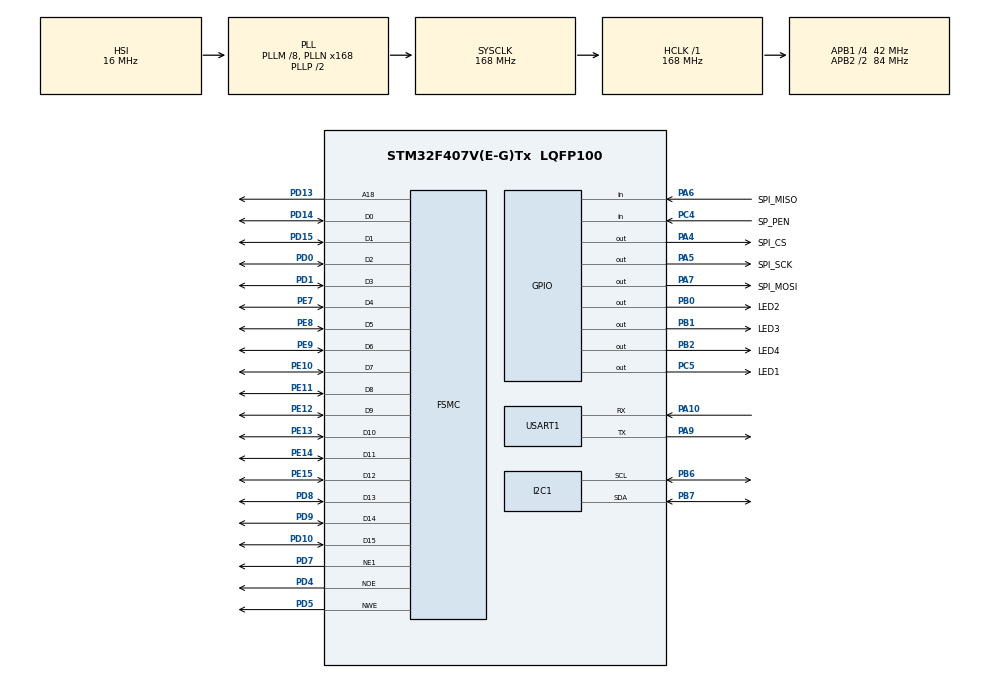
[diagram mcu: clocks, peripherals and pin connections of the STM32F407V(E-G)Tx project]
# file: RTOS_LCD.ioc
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Dma.I2C1_RX.0.Direction=DMA_PERIPH_TO_MEMORY
Dma.I2C1_RX.0.FIFOMode=DMA_FIFOMODE_DISABLE
Dma.I2C1_RX.0.Instance=DMA1_Stream0
Dma.I2C1_RX.0.MemDataAlignment=DMA_MDATAALIGN_BYTE
Dma.I2C1_RX.0.MemInc=DMA_MINC_ENABLE
Dma.I2C1_RX.0.Mode=DMA_NORMAL
Dma.I2C1_RX.0.PeriphDataAlignment=DMA_PDATAALIGN_BYTE
Dma.I2C1_RX.0.PeriphInc=DMA_PINC_DISABLE
Dma.I2C1_RX.0.Priority=DMA_PRIORITY_HIGH
Dma.MEMTOMEM.1.Direction=DMA_MEMORY_TO_MEMORY
Dma.MEMTOMEM.1.FIFOMode=DMA_FIFOMODE_ENABLE
Dma.MEMTOMEM.1.FIFOThreshold=DMA_FIFO_THRESHOLD_FULL
Dma.MEMTOMEM.1.Instance=DMA2_Stream0
Dma.MEMTOMEM.1.MemBurst=DMA_MBURST_SINGLE
Dma.MEMTOMEM.1.MemDataAlignment=DMA_MDATAALIGN_HALFWORD
Dma.MEMTOMEM.1.MemInc=DMA_MINC_DISABLE
Dma.MEMTOMEM.1.Mode=DMA_NORMAL
Dma.MEMTOMEM.1.PeriphBurst=DMA_PBURST_SINGLE
Dma.MEMTOMEM.1.PeriphDataAlignment=DMA_PDATAALIGN_HALFWORD
Dma.MEMTOMEM.1.PeriphInc=DMA_PINC_ENABLE
Dma.MEMTOMEM.1.Priority=DMA_PRIORITY_VERY_HIGH
Dma.Request0=I2C1_RX
Dma.Request1=MEMTOMEM
FREERTOS.BinarySemaphores01=myBinarySem01,Dynamic,NULL,Available
FREERTOS.HEAP_NUMBER=4
FREERTOS.Tasks01=Img_Dis_Task,16,1024,Img_Dis_Fun,Default,NULL,Dynamic,NULL,NULL;Init_task,32,1536,Init_task_Function,Default,NULL,Dynamic,NULL,NULL;LVGL_USE_Task,24,1024,LVGL_USE_Function,Default,NULL,Dynamic,NULL,NULL
FREERTOS.configENABLE_FPU=1
FREERTOS.configTOTAL_HEAP_SIZE=24000
FREERTOS.configUSE_TICK_HOOK=1
FSMC.AddressSetupTime1=0
FSMC.BusTurnAroundDuration1=0
FSMC.DataSetupTime1=60
FSMC.ExtendedAddressSetupTime1=9
FSMC.ExtendedBusTurnAroundDuration1=0
FSMC.ExtendedDataSetupTime1=9
FSMC.ExtendedMode1=FSMC_EXTENDED_MODE_ENABLE
I2C1.I2C_Mode=I2C_Fast
Mcu.Family=STM32F4
Mcu.Name=STM32F407V(E-G)Tx
Mcu.Package=LQFP100
NVIC.DMA1_Stream0_IRQn=true\:5\:0\:false\:false\:true\:true\:false\:true\:true
NVIC.DMA2_Stream0_IRQn=true\:5\:0\:false\:false\:true\:true\:false\:true\:true
NVIC.I2C1_ER_IRQn=true\:5\:0\:false\:false\:true\:true\:false\:true\:true
NVIC.I2C1_EV_IRQn=true\:5\:0\:false\:false\:true\:true\:false\:true\:true
NVIC.PriorityGroup=NVIC_PRIORITYGROUP_4
NVIC.TIM8_TRG_COM_TIM14_IRQn=true\:15\:0\:false\:false\:true\:false\:false\:true\:true
NVIC.TimeBase=TIM8_TRG_COM_TIM14_IRQn
NVIC.TimeBaseIP=TIM14
PA10.Mode=Asynchronous
PA10.Signal=USART1_RX
PA13.Mode=Serial_Wire
PA13.Signal=SYS_JTMS-SWDIO
PA14.Mode=Serial_Wire
PA14.Signal=SYS_JTCK-SWCLK
PA4.GPIO_Label=SPI_CS
PA4.GPIO_PuPd=GPIO_PULLUP
PA4.GPIO_Speed=GPIO_SPEED_FREQ_LOW
PA4.Signal=GPIO_Output
PA5.GPIO_Label=SPI_SCK
PA5.GPIO_PuPd=GPIO_PULLUP
PA5.GPIO_Speed=GPIO_SPEED_FREQ_LOW
PA5.Signal=GPIO_Output
PA6.GPIO_Label=SPI_MISO
PA6.GPIO_PuPd=GPIO_PULLUP
PA6.Signal=GPIO_Input
PA7.GPIO_Label=SPI_MOSI
PA7.GPIO_PuPd=GPIO_PULLUP
PA7.GPIO_Speed=GPIO_SPEED_FREQ_LOW
PA7.Signal=GPIO_Output
PA9.Mode=Asynchronous
PA9.Signal=USART1_TX
PB0.GPIO_Label=LED2
PB0.GPIO_ModeDefaultOutputPP=GPIO_MODE_OUTPUT_PP
PB0.GPIO_PuPd=GPIO_NOPULL
PB0.PinState=GPIO_PIN_SET
PB0.Signal=GPIO_Output
PB1.GPIO_Label=LED3
PB1.GPIO_ModeDefaultOutputPP=GPIO_MODE_OUTPUT_PP
PB1.GPIO_PuPd=GPIO_NOPULL
PB1.PinState=GPIO_PIN_SET
PB1.Signal=GPIO_Output
PB2.GPIO_Label=LED4
PB2.GPIO_ModeDefaultOutputPP=GPIO_MODE_OUTPUT_PP
PB2.GPIO_PuPd=GPIO_NOPULL
PB2.PinState=GPIO_PIN_SET
PB2.Signal=GPIO_Output
PB6.Mode=I2C
PB6.Signal=I2C1_SCL
PB7.Mode=I2C
PB7.Signal=I2C1_SDA
PC4.GPIO_Label=SP_PEN
PC4.GPIO_PuPd=GPIO_PULLUP
PC4.Signal=GPIO_Input
PC5.GPIO_Label=LED1
PC5.GPIO_ModeDefaultOutputPP=GPIO_MODE_OUTPUT_PP
PC5.GPIO_PuPd=GPIO_NOPULL
PC5.PinState=GPIO_PIN_SET
PC5.Signal=GPIO_Output
PD0.Mode=16b-d1
PD0.Signal=FSMC_D2
PD1.Mode=16b-d1
PD1.Signal=FSMC_D3
PD10.Mode=16b-d1
PD10.Signal=FSMC_D15
PD13.Mode=A18_1
PD13.Signal=FSMC_A18
PD14.Mode=16b-d1
PD14.Signal=FSMC_D0
PD15.Mode=16b-d1
PD15.Signal=FSMC_D1
PD4.Mode=Lcd1
PD4.Signal=FSMC_NOE
PD5.Mode=Lcd1
PD5.Signal=FSMC_NWE
PD7.Mode=NorPsramChipSelect1_1
PD7.Signal=FSMC_NE1
PD8.Mode=16b-d1
PD8.Signal=FSMC_D13
PD9.Mode=16b-d1
PD9.Signal=FSMC_D14
PE10.Mode=16b-d1
PE10.Signal=FSMC_D7
PE11.Mode=16b-d1
PE11.Signal=FSMC_D8
PE12.Mode=16b-d1
PE12.Signal=FSMC_D9
PE13.Mode=16b-d1
PE13.Signal=FSMC_D10
PE14.Mode=16b-d1
PE14.Signal=FSMC_D11
PE15.Mode=16b-d1
PE15.Signal=FSMC_D12
PE7.Mode=16b-d1
PE7.Signal=FSMC_D4
PE8.Mode=16b-d1
PE8.Signal=FSMC_D5
PE9.Mode=16b-d1
PE9.Signal=FSMC_D6
PH0-OSC_IN.Mode=HSE-External-Oscillator
PH0-OSC_IN.Signal=RCC_OSC_IN
PH1-OSC_OUT.Mode=HSE-External-Oscillator
PH1-OSC_OUT.Signal=RCC_OSC_OUT
ProjectManager.HeapSize=0x1000
ProjectManager.StackSize=0x600
ProjectManager.TargetToolchain=MDK-ARM V5.32
RCC.48MHZClocksFreq_Value=48000000
RCC.AHBFreq_Value=168000000
RCC.APB1CLKDivider=RCC_HCLK_DIV4
RCC.APB1Freq_Value=42000000
RCC.APB1TimFreq_Value=84000000
RCC.APB2CLKDivider=RCC_HCLK_DIV2
RCC.APB2Freq_Value=84000000
RCC.APB2TimFreq_Value=168000000
RCC.CortexFreq_Value=168000000
RCC.HCLKFreq_Value=168000000
RCC.HSE_VALUE=25000000
RCC.HSI_VALUE=16000000
RCC.LSE_VALUE=32768
RCC.PLLM=8
RCC.PLLN=168
RCC.PLLQ=7
RCC.SYSCLKFreq_VALUE=168000000
RCC.SYSCLKSource=RCC_SYSCLKSOURCE_PLLCLK
RCC.VCOOutputFreq_Value=336000000
USART1.VirtualMode=VM_ASYNC
VP_FREERTOS_VS_CMSIS_V2.Mode=CMSIS_V2
VP_SYS_VS_tim14.Mode=TIM14
board=custom

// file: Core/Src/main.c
/* USER CODE BEGIN Header */
/**
 ******************************************************************************
 * @file           : main.c
 * @brief          : Main program body
 ******************************************************************************
 * @attention
 *
 * Copyright (c) 2025 STMicroelectronics.
 * All rights reserved.
 *
 * This software is licensed under terms that can be found in the LICENSE file
 * in the root directory of this software component.
 * If no LICENSE file comes with this software, it is provided AS-IS.
 *
 ******************************************************************************
 */
/* USER CODE END Header */
#include "main.h"
#include "cmsis_os.h"
#include "dma.h"
#include "i2c.h"
#include "usart.h"
#include "gpio.h"
#include "fsmc.h"

void SystemClock_Config(void);
void MX_FREERTOS_Init(void);

int main(void)
{

  /* MCU Configuration--------------------------------------------------------*/

  /* Reset of all peripherals, Initializes the Flash interface and the Systick. */
  HAL_Init();

  /* Configure the system clock */
  SystemClock_Config();

  /* Initialize all configured peripherals */
  MX_GPIO_Init();
  MX_DMA_Init();
  MX_FSMC_Init();
  MX_I2C1_Init();
  MX_USART1_UART_Init();

  /* Init scheduler */
  osKernelInitialize();  /* Call init function for freertos objects (in cmsis_os2.c) */
  MX_FREERTOS_Init();

  /* Start scheduler */
  osKernelStart();

  /* We should never get here as control is now taken by the scheduler */

  /* Infinite loop */
  while (1)
  {

  }
}

void SystemClock_Config(void)
{
  RCC_OscInitTypeDef RCC_OscInitStruct = {0};
  RCC_ClkInitTypeDef RCC_ClkInitStruct = {0};

  /** Configure the main internal regulator output voltage
  */
  __HAL_RCC_PWR_CLK_ENABLE();
  __HAL_PWR_VOLTAGESCALING_CONFIG(PWR_REGULATOR_VOLTAGE_SCALE1);

  /** Initializes the RCC Oscillators according to the specified parameters
  * in the RCC_OscInitTypeDef structure.
  */
  RCC_OscInitStruct.OscillatorType = RCC_OSCILLATORTYPE_HSI;
  RCC_OscInitStruct.HSIState = RCC_HSI_ON;
  RCC_OscInitStruct.HSICalibrationValue = RCC_HSICALIBRATION_DEFAULT;
  RCC_OscInitStruct.PLL.PLLState = RCC_PLL_ON;
  RCC_OscInitStruct.PLL.PLLSource = RCC_PLLSOURCE_HSI;
  RCC_OscInitStruct.PLL.PLLM = 8;
  RCC_OscInitStruct.PLL.PLLN = 168;
  RCC_OscInitStruct.PLL.PLLP = RCC_PLLP_DIV2;
  RCC_OscInitStruct.PLL.PLLQ = 7;
  if (HAL_RCC_OscConfig(&RCC_OscInitStruct) != HAL_OK)
  {
    Error_Handler();
  }

  /** Initializes the CPU, AHB and APB buses clocks
  */
  RCC_ClkInitStruct.ClockType = RCC_CLOCKTYPE_HCLK|RCC_CLOCKTYPE_SYSCLK
                              |RCC_CLOCKTYPE_PCLK1|RCC_CLOCKTYPE_PCLK2;
  RCC_ClkInitStruct.SYSCLKSource = RCC_SYSCLKSOURCE_PLLCLK;
  RCC_ClkInitStruct.AHBCLKDivider = RCC_SYSCLK_DIV1;
  RCC_ClkInitStruct.APB1CLKDivider = RCC_HCLK_DIV4;
  RCC_ClkInitStruct.APB2CLKDivider = RCC_HCLK_DIV2;

  if (HAL_RCC_ClockConfig(&RCC_ClkInitStruct, FLASH_LATENCY_5) != HAL_OK)
  {
    Error_Handler();
  }
}

void HAL_TIM_PeriodElapsedCallback(TIM_HandleTypeDef *htim)
{
  if (htim->Instance == TIM14)
  {
    HAL_IncTick();
  }
}

void Error_Handler(void)
{
  __disable_irq();
  while (1)
  {
  }
}

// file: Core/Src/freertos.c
/* USER CODE BEGIN Header */
/**
 ******************************************************************************
 * File Name          : freertos.c
 * Description        : Code for freertos applications
 ******************************************************************************
 * @attention
 *
 * Copyright (c) 2025 STMicroelectronics.
 * All rights reserved.
 *
 * This software is licensed under terms that can be found in the LICENSE file
 * in the root directory of this software component.
 * If no LICENSE file comes with this software, it is provided AS-IS.
 *
 ******************************************************************************
 */
// use ： utf-8
/* USER CODE END Header */

#include "FreeRTOS.h"
#include "task.h"
#include "main.h"
#include "cmsis_os.h"

/* USER CODE BEGIN Includes */
#include "lcd.h"
#include <stdio.h>
#include "MLX90640_API.h"
#include "MLX90640_I2C_Driver.h"
#include "color.h" //温度转颜色及LCD显示部分
#include "MLX.h"
#include "app_state.h"
#include "cw2015.h"
#include "boot_screen.h"
#include "i2c.h"

#include "lvgl.h"
#include "lv_port_disp.h"
#include "lv_port_indev.h"

#include "gui_guider.h"
#include "events_init.h"
/* USER CODE END Includes */

/* USER CODE BEGIN PD */
#define MLX90640_use // 使用90640

#define MLX90640_EEPROM_id_ADDRESS 0x240C // MLX90640 EEPROM id地址

#define MLX90640_OPEN_time_ms 100 // MLX90640上电稳定时间

#define SYSTEM_EVENT_UI_READY  (1UL << 0)
#define SYSTEM_EVENT_MLX_READY (1UL << 1)

#define HOT_LED_ON_TEMP_C   45.0f
#define HOT_LED_OFF_TEMP_C  43.0f
#define COLD_LED_ON_TEMP_C   5.0f
#define COLD_LED_OFF_TEMP_C  7.0f

#define BOOT_TEXT_DISPLAY_LED  "\xE6\x98\xBE\xE7\xA4\xBA\xE4\xB8\x8E LED \xE6\xA3\x80\xE6\x9F\xA5"
#define BOOT_TEXT_TESTING      "\xE6\xA3\x80\xE6\xB5\x8B\xE4\xB8\xAD"
#define BOOT_TEXT_NORMAL       "\xE6\xAD\xA3\xE5\xB8\xB8"
#define BOOT_TEXT_NOT_FOUND    "\xE6\x9C\xAA\xE8\xBF\x9E\xE6\x8E\xA5"
#define BOOT_TEXT_COMPLETE     "\xE8\x87\xAA\xE6\xA3\x80\xE5\xAE\x8C\xE6\x88\x90"

/* USER CODE END PD */

/* USER CODE BEGIN Variables */
// LCD
extern uint32_t g_back_color;        // LCD背景色
extern _lcd_dev lcddev;              // LCD的id寄存结构体
extern _m_tp_dev tp_dev;             // lcd触屏使用结构体
color_mode dis_mode = colorful_mode; // 显示模式，默认为彩色
// 90640
uint16_t eeMLX90640[ee_data_count]; // 接收MLX90640校准数据
paramsMLX90640 mlx90640;            // 90640信息

float mlx90640To[temp_count];              // 温度
static uint16_t mlx90640Frame[data_count]; // 接收MLX90640数据

float max_temp = -100.0f, min_temp = 100.0f, cent_temp = 0; // 最大和最小温度，中心温度
volatile uint32_t g_thermal_fps_x10 = 0U;                   // 实际完成显示的热图帧率，扩大10倍
volatile uint32_t g_thermal_last_frame_tick = 0U;           // 最近一次完整热图显示时刻

volatile app_page_t g_app_page = APP_PAGE_THERMAL;
volatile uint8_t g_mlx_available = 0U;
volatile uint8_t g_battery_connected = 0U;
volatile uint8_t g_battery_version = 0U;
volatile uint32_t g_battery_soc_x10 = 0U;
volatile uint32_t g_battery_voltage_mv = 0U;
volatile uint32_t g_battery_last_update_tick = 0U;
volatile int32_t g_battery_error = 0;

lv_ui guider_ui; // 用户自定义lvgl使用的UI结构体

extern volatile MLX90640_RefreshRate refresh_rate; // 刷新率
static osEventFlagsId_t systemEventFlagsHandle;
static uint8_t thermal_hot_active = 0U;
static uint8_t thermal_cold_active = 0U;
/* USER CODE END Variables */
/* Definitions for Img_Dis_Task */
osThreadId_t Img_Dis_TaskHandle;
const osThreadAttr_t Img_Dis_Task_attributes = {
  .name = "Img_Dis_Task",
  .stack_size = 1024 * 4,
  .priority = (osPriority_t) osPriorityBelowNormal,
};
/* Definitions for Init_task */
osThreadId_t Init_taskHandle;
const osThreadAttr_t Init_task_attributes = {
  .name = "Init_task",
  .stack_size = 1536 * 4,
  .priority = (osPriority_t) osPriorityAboveNormal,
};
/* Definitions for LVGL_USE_Task */
osThreadId_t LVGL_USE_TaskHandle;
const osThreadAttr_t LVGL_USE_Task_attributes = {
  .name = "LVGL_USE_Task",
  .stack_size = 1024 * 4,
  .priority = (osPriority_t) osPriorityNormal,
};
/* Definitions for myBinarySem01 */
osSemaphoreId_t myBinarySem01Handle;
const osSemaphoreAttr_t myBinarySem01_attributes = {
  .name = "myBinarySem01"
};

/* USER CODE BEGIN FunctionPrototypes */
static void thermal_alert_leds_off(void);
static void thermal_alert_leds_update(float maximum_temperature);
static void boot_ui_update(uint8_t percent, const char *status,
                           const char *detail);
static void boot_led_self_test(void);

/* USER CODE END FunctionPrototypes */

void Img_Dis_Fun(void *argument);
void Init_task_Function(void *argument);
void LVGL_USE_Function(void *argument);

void MX_FREERTOS_Init(void); /* (MISRA C 2004 rule 8.1) */

/* Hook prototypes */
void vApplicationTickHook(void);

/* USER CODE BEGIN 3 */
volatile uint32_t g_freertos_fault_type = 0U;
volatile TaskHandle_t g_freertos_fault_task = NULL;
volatile const char *g_freertos_fault_task_name = NULL;

void vApplicationStackOverflowHook(TaskHandle_t xTask, char *pcTaskName)
{
  g_freertos_fault_type = 1U;
  g_freertos_fault_task = xTask;
  g_freertos_fault_task_name = pcTaskName;
  taskDISABLE_INTERRUPTS();
  for (;;)
  {
  }
}

void vApplicationMallocFailedHook(void)
{
  g_freertos_fault_type = 2U;
  g_freertos_fault_task = NULL;
  g_freertos_fault_task_name = "malloc";
  taskDISABLE_INTERRUPTS();
  for (;;)
  {
  }
}

void vApplicationTickHook( void )
{
   /* This function will be called by each tick interrupt if
   configUSE_TICK_HOOK is set to 1 in FreeRTOSConfig.h. User code can be
   added here, but the tick hook is called from an interrupt context, so
   code must not attempt to block, and only the interrupt safe FreeRTOS API
   functions can be used (those that end in FromISR()). */
	lv_tick_inc(1);
}

static void thermal_alert_leds_off(void)
{
  thermal_hot_active = 0U;
  thermal_cold_active = 0U;
  HAL_GPIO_WritePin(LED3_GPIO_Port, LED3_Pin, GPIO_PIN_SET);
  HAL_GPIO_WritePin(LED4_GPIO_Port, LED4_Pin, GPIO_PIN_SET);
}

static void thermal_alert_leds_update(float maximum_temperature)
{
  if (maximum_temperature >= HOT_LED_ON_TEMP_C)
  {
    thermal_hot_active = 1U;
  }
  else if (maximum_temperature <= HOT_LED_OFF_TEMP_C)
  {
    thermal_hot_active = 0U;
  }

  if (maximum_temperature <= COLD_LED_ON_TEMP_C)
  {
    thermal_cold_active = 1U;
  }
  else if (maximum_temperature >= COLD_LED_OFF_TEMP_C)
  {
    thermal_cold_active = 0U;
  }

  HAL_GPIO_WritePin(LED3_GPIO_Port, LED3_Pin,
                    thermal_hot_active ? GPIO_PIN_RESET : GPIO_PIN_SET);
  HAL_GPIO_WritePin(LED4_GPIO_Port, LED4_Pin,
                    thermal_cold_active ? GPIO_PIN_RESET : GPIO_PIN_SET);
}

static void boot_ui_update(uint8_t percent, const char *status,
                           const char *detail)
{
  osSemaphoreAcquire(myBinarySem01Handle, osWaitForever);
  boot_screen_set_progress(percent, status, detail);
  osSemaphoreRelease(myBinarySem01Handle);
}

static void boot_led_self_test(void)
{
  static GPIO_TypeDef *const led_ports[4] = {
    LED1_GPIO_Port, LED2_GPIO_Port, LED3_GPIO_Port, LED4_GPIO_Port
  };
  static const uint16_t led_pins[4] = {
    LED1_Pin, LED2_Pin, LED3_Pin, LED4_Pin
  };
  static const uint8_t progress[4] = {18U, 25U, 32U, 39U};
  char detail[12];
  uint8_t index;

  HAL_GPIO_WritePin(LED1_GPIO_Port, LED1_Pin, GPIO_PIN_SET);
  HAL_GPIO_WritePin(GPIOB, LED2_Pin | LED3_Pin | LED4_Pin, GPIO_PIN_SET);

  for (index = 0U; index < 4U; index++)
  {
    (void)snprintf(detail, sizeof(detail), "LED%u", (unsigned int)(index + 1U));
    boot_ui_update(progress[index], BOOT_TEXT_DISPLAY_LED, detail);
    HAL_GPIO_WritePin(led_ports[index], led_pins[index], GPIO_PIN_RESET);
    osDelay(120U);
    HAL_GPIO_WritePin(led_ports[index], led_pins[index], GPIO_PIN_SET);
  }
}
/* USER CODE END 3 */

void MX_FREERTOS_Init(void) {
  /* USER CODE BEGIN Init */
  systemEventFlagsHandle = osEventFlagsNew(NULL);
  /* USER CODE END Init */

  /* Create the semaphores(s) */
  /* creation of myBinarySem01 */
  myBinarySem01Handle = osSemaphoreNew(1, 1, &myBinarySem01_attributes);

  /* Create the thread(s) */
  /* creation of Img_Dis_Task */
  Img_Dis_TaskHandle = osThreadNew(Img_Dis_Fun, NULL, &Img_Dis_Task_attributes);

  /* creation of Init_task */
  Init_taskHandle = osThreadNew(Init_task_Function, NULL, &Init_task_attributes);

  /* creation of LVGL_USE_Task */
  LVGL_USE_TaskHandle = osThreadNew(LVGL_USE_Function, NULL, &LVGL_USE_Task_attributes);

}

/* USER CODE BEGIN Header_Img_Dis_Fun */
/**
 * @brief  用户MLX90640数据读取图像线性插值及LCD显示热成像函数
 * @param  argument: Not used
 * @retval None
 */
/* USER CODE END Header_Img_Dis_Fun */
void Img_Dis_Fun(void *argument)
{
  /* USER CODE BEGIN Img_Dis_Fun */
  MLX90640_RefreshRate applied_refresh_rate = MLX90640_32HZ;
  uint32_t fps_window_start;
  uint32_t fps_frame_count = 0U;
  uint32_t battery_next_poll = 0U;
  app_page_t previous_page = APP_PAGE_THERMAL;

  (void)osEventFlagsWait(systemEventFlagsHandle, SYSTEM_EVENT_MLX_READY,
                         osFlagsWaitAny | osFlagsNoClear, osWaitForever);
  fps_window_start = osKernelGetTickCount();

  /* Infinite loop */
  for (;;)
  {
    app_page_t current_page = g_app_page;

    if (current_page != previous_page)
    {
      fps_frame_count = 0U;
      fps_window_start = osKernelGetTickCount();
      g_thermal_fps_x10 = 0U;
      g_thermal_last_frame_tick = 0U;
      if (current_page == APP_PAGE_BATTERY)
      {
        battery_next_poll = 0U;
        thermal_alert_leds_off();
      }
      previous_page = current_page;
    }

    if (current_page == APP_PAGE_BATTERY)
    {
      uint32_t now = osKernelGetTickCount();
      if ((battery_next_poll == 0U) || ((int32_t)(now - battery_next_poll) >= 0))
      {
        cw2015_data_t battery;
        int battery_status = cw2015_read(&battery);
        if (battery_status == 0)
        {
          g_battery_version = battery.version;
          g_battery_soc_x10 = battery.soc_x10;
          g_battery_voltage_mv = battery.voltage_mv;
          g_battery_connected = 1U;
          g_battery_last_update_tick = now;
          g_battery_error = 0;
        }
        else
        {
          g_battery_connected = 0U;
          g_battery_error = battery_status;
        }
        battery_next_poll = now + 1000U;
      }
      osDelay(50U);
      continue;
    }

    if (g_mlx_available == 0U)
    {
      thermal_alert_leds_off();
      osDelay(100U);
      continue;
    }

    MLX90640_RefreshRate requested_refresh_rate = refresh_rate;
    if (requested_refresh_rate != applied_refresh_rate)
    {
      if (MLX90640_SetRefreshRate(MLX90640_I2C_ADDRESS, requested_refresh_rate) == 0)
      {
        applied_refresh_rate = requested_refresh_rate;
      }
    }

    /* I2C采集和温度计算不占用LCD锁，DMA等待期间LVGL仍可运行。 */
    if (MLX_acquire(mlx90640Frame) >= 0)
    {
      uint32_t now;
      uint32_t elapsed;

      thermal_alert_leds_update(max_temp);
      MLX_render();
      if (g_app_page != APP_PAGE_THERMAL)
      {
        continue;
      }
      now = osKernelGetTickCount();
      g_thermal_last_frame_tick = now;
      fps_frame_count++;
      elapsed = now - fps_window_start;
      if (elapsed >= 1000U)
      {
        g_thermal_fps_x10 = (fps_frame_count * 10000U + elapsed / 2U) / elapsed;
        fps_frame_count = 0U;
        fps_window_start = now;
      }
    }
    else if ((g_thermal_last_frame_tick == 0U) ||
             ((osKernelGetTickCount() - g_thermal_last_frame_tick) > 1500U))
    {
      thermal_alert_leds_off();
    }

    /* 避免低刷新率下持续轮询数据就绪寄存器。 */
    switch (applied_refresh_rate)
    {
    case MLX90640_4HZ:
      osDelay(200);
      break;
    case MLX90640_8HZ:
      osDelay(75);
      break;
    case MLX90640_16HZ:
      osDelay(10);
      break;
    case MLX90640_32HZ:
    case MLX90640_64HZ:
    default:
      osDelay(1);
      break;
    }
  }
  /* USER CODE END Img_Dis_Fun */
}

void Init_task_Function(void *argument)
{
  /* USER CODE BEGIN Init_task_Function */
  uint16_t chip_id;
  int mlx_status = 0;
  int battery_status;
  cw2015_data_t battery;
  char boot_detail[40];

  /* 1) LCD 初始化与清屏（持有互斥） */
  osSemaphoreAcquire(myBinarySem01Handle, osWaitForever);
  g_back_color = BLACK;
  /* 2) LVGL初始化 */
  lv_init();
  lv_port_disp_init();
  lcd_dma_sync_init();
  lcd_clear(BLACK);
  lv_port_indev_init();
  setup_ui(&guider_ui);    // 初始化UI
  events_init(&guider_ui); // 初始化事件
  boot_screen_create();

  osSemaphoreRelease(myBinarySem01Handle);
  (void)osEventFlagsSet(systemEventFlagsHandle, SYSTEM_EVENT_UI_READY);

  boot_ui_update(8U, BOOT_TEXT_DISPLAY_LED, "LCD:OK");
  osDelay(80U);
  boot_led_self_test();

  /* 3) MLX90640 初始化，增加有限重试避免长时间阻塞 */
#ifdef MLX90640_use
  boot_ui_update(48U, "MLX90640 " BOOT_TEXT_TESTING, "I2C 0x33");
  MLX90640_I2CInit();
  osDelay(MLX90640_OPEN_time_ms);
  MLX90640_I2CFreqSet(400);

  uint8_t tries;
  if (HAL_I2C_IsDeviceReady(&hi2c1, MLX90640_I2C_ADDRESS << 1,
                            3U, 30U) != HAL_OK)
  {
    mlx_status = -1;
  }
  else
  {
    tries = 5;
    do
    {
      mlx_status = MLX90640_SetRefreshRate(MLX90640_I2C_ADDRESS, MLX90640_32HZ);
      if (mlx_status != 0) osDelay(10);
    } while ((mlx_status != 0) && (--tries > 0U));
  }

  if (mlx_status == 0)
  {
    tries = 5;
    do
    {
      mlx_status = MLX90640_SetChessMode(MLX90640_I2C_ADDRESS);
      if (mlx_status != 0) osDelay(10U);
    } while ((mlx_status != 0) && (--tries > 0U));
  }

  if (mlx_status == 0)
  {
    tries = 5;
    do
    {
      mlx_status = MLX90640_DumpEE(MLX90640_I2C_ADDRESS, eeMLX90640);
      if (mlx_status != 0) osDelay(10U);
    } while ((mlx_status != 0) && (--tries > 0U));
  }

  if (mlx_status == 0)
  {
    mlx_status = MLX90640_ExtractParameters(eeMLX90640, &mlx90640);
  }

  if (mlx_status == 0)
  {
    (void)MLX90640_I2CRead(MLX90640_I2C_ADDRESS,
                           MLX90640_EEPROM_id_ADDRESS, 1, &chip_id);
    g_mlx_available = 1U;
  }
  boot_ui_update(70U,
                 (g_mlx_available != 0U) ?
                   "MLX90640 " BOOT_TEXT_NORMAL :
                   "MLX90640 " BOOT_TEXT_NOT_FOUND,
                 (g_mlx_available != 0U) ? "I2C 0x33 OK" : "I2C 0x33 FAIL");
#endif

  boot_ui_update(78U, "CW2015 " BOOT_TEXT_TESTING, "I2C 0x62");
  battery_status = cw2015_read(&battery);
  if (battery_status == 0)
  {
    g_battery_version = battery.version;
    g_battery_soc_x10 = battery.soc_x10;
    g_battery_voltage_mv = battery.voltage_mv;
    g_battery_connected = 1U;
    g_battery_last_update_tick = osKernelGetTickCount();
    g_battery_error = 0;
    (void)snprintf(boot_detail, sizeof(boot_detail),
                   "I2C 0x62 OK  V:%02X", battery.version);
  }
  else
  {
    g_battery_connected = 0U;
    g_battery_error = battery_status;
    (void)snprintf(boot_detail, sizeof(boot_detail),
                   "I2C 0x62 FAIL  E:%d", battery_status);
  }
  boot_ui_update(92U,
                 (battery_status == 0) ?
                   "CW2015 " BOOT_TEXT_NORMAL :
                   "CW2015 " BOOT_TEXT_NOT_FOUND,
                 boot_detail);
  osDelay(180U);

  (void)snprintf(boot_detail, sizeof(boot_detail), "MLX:%s  CW:%s",
                 (g_mlx_available != 0U) ? "OK" : "FAIL",
                 (g_battery_connected != 0U) ? "OK" : "FAIL");
  boot_ui_update(100U, BOOT_TEXT_COMPLETE, boot_detail);
  osDelay(650U);

  osSemaphoreAcquire(myBinarySem01Handle, osWaitForever);
  g_back_color = WHITE;
  boot_screen_close(guider_ui.screen);
  osSemaphoreRelease(myBinarySem01Handle);

  /* 即使MLX初始化失败，也允许传感器任务进入CW2015电量页面。 */
  (void)osEventFlagsSet(systemEventFlagsHandle, SYSTEM_EVENT_MLX_READY);
  //触摸屏部分初始化
  HAL_GPIO_WritePin(SPI_CS_GPIO_Port, SPI_CS_Pin, GPIO_PIN_RESET); // 选中SPI从机
  /* 4) 保持一段时间，确保 UI 可见后 */
  /* 先跑几次 LVGL 任务，确保界面首次渲染*/
//  for (uint8_t i = 0; i < 5; i++)
//  {
//    lv_timer_handler();
//    osDelay(5);
//  }
//  osDelay(10000);
  vTaskDelete(NULL);
  /* USER CODE END Init_task_Function */
}

/* USER CODE BEGIN Header_LVGL_USE_Function */
/**
 * @brief Function implementing the LVGL_USE_Task thread.
 * @param argument: Not used
 * @retval None
 */
//LVGL用任务
/* USER CODE END Header_LVGL_USE_Function */
void LVGL_USE_Function(void *argument)
{
  /* USER CODE BEGIN LVGL_USE_Function */
  (void)osEventFlagsWait(systemEventFlagsHandle, SYSTEM_EVENT_UI_READY,
                         osFlagsWaitAny | osFlagsNoClear, osWaitForever);

  /* Infinite loop */
  for (;;)
  {
    uint32_t next_delay;
    osSemaphoreAcquire(myBinarySem01Handle, osWaitForever);
    next_delay = lv_timer_handler();
    osSemaphoreRelease(myBinarySem01Handle);

    if (next_delay < 1U) next_delay = 1U;
    if (next_delay > 10U) next_delay = 10U;
    osDelay(next_delay);
  }
  /* USER CODE END LVGL_USE_Function */
}
